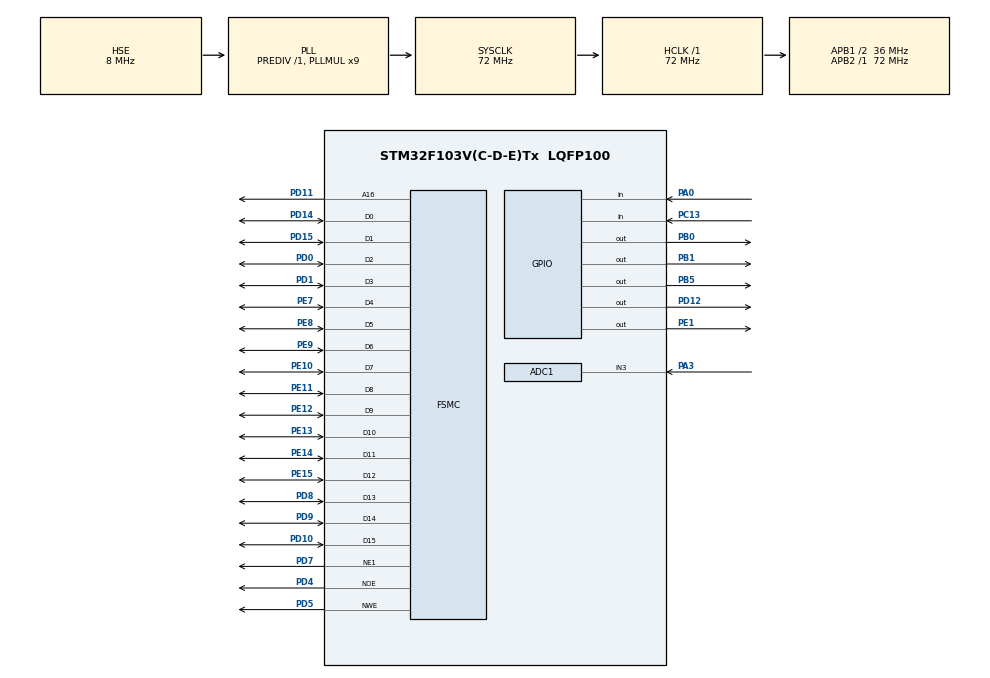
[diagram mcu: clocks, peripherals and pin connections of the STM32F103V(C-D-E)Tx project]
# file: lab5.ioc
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ADC1.Channel-0\#ChannelRegularConversion=ADC_CHANNEL_3
ADC1.ContinuousConvMode=DISABLE
ADC1.NbrOfConversionFlag=1
ADC1.Rank-0\#ChannelRegularConversion=1
ADC1.SamplingTime-0\#ChannelRegularConversion=ADC_SAMPLETIME_55CYCLES_5
ADC1.master=1
ADC2.Channel-0\#ChannelRegularConversion=ADC_CHANNEL_3
ADC2.ContinuousConvMode=ENABLE
ADC2.NbrOfConversionFlag=1
ADC2.Rank-0\#ChannelRegularConversion=1
ADC2.SamplingTime-0\#ChannelRegularConversion=ADC_SAMPLETIME_55CYCLES_5
Mcu.Family=STM32F1
Mcu.Name=STM32F103V(C-D-E)Tx
Mcu.Package=LQFP100
NVIC.PriorityGroup=NVIC_PRIORITYGROUP_4
OSC_IN.Mode=HSE-External-Oscillator
OSC_IN.Signal=RCC_OSC_IN
OSC_OUT.Mode=HSE-External-Oscillator
OSC_OUT.Signal=RCC_OSC_OUT
PA0-WKUP.Signal=GPIO_Input
PA13.Mode=Serial_Wire
PA13.Signal=SYS_JTMS-SWDIO
PA14.Mode=Serial_Wire
PA14.Signal=SYS_JTCK-SWCLK
PA3.Signal=ADCx_IN3
PB0.GPIO_Speed=GPIO_SPEED_FREQ_HIGH
PB0.PinState=GPIO_PIN_SET
PB0.Signal=GPIO_Output
PB1.GPIO_Speed=GPIO_SPEED_FREQ_HIGH
PB1.PinState=GPIO_PIN_SET
PB1.Signal=GPIO_Output
PB5.GPIO_Speed=GPIO_SPEED_FREQ_HIGH
PB5.PinState=GPIO_PIN_SET
PB5.Signal=GPIO_Output
PC13-TAMPER-RTC.Signal=GPIO_Input
PC14-OSC32_IN.Mode=LSE-External-Oscillator
PC14-OSC32_IN.Signal=RCC_OSC32_IN
PC15-OSC32_OUT.Mode=LSE-External-Oscillator
PC15-OSC32_OUT.Signal=RCC_OSC32_OUT
PD0.Mode=16b-d1
PD0.Signal=FSMC_D2
PD1.Mode=16b-d1
PD1.Signal=FSMC_D3
PD10.Mode=16b-d1
PD10.Signal=FSMC_D15
PD11.Mode=A16_1
PD11.Signal=FSMC_A16
PD12.GPIO_Speed=GPIO_SPEED_FREQ_HIGH
PD12.PinState=GPIO_PIN_RESET
PD12.Signal=GPIO_Output
PD14.Mode=16b-d1
PD14.Signal=FSMC_D0
PD15.Mode=16b-d1
PD15.Signal=FSMC_D1
PD4.Mode=Lcd1
PD4.Signal=FSMC_NOE
PD5.Mode=Lcd1
PD5.Signal=FSMC_NWE
PD7.Mode=NorPsramChipSelect1_1
PD7.Signal=FSMC_NE1
PD8.Mode=16b-d1
PD8.Signal=FSMC_D13
PD9.Mode=16b-d1
PD9.Signal=FSMC_D14
PE1.GPIO_Speed=GPIO_SPEED_FREQ_HIGH
PE1.PinState=GPIO_PIN_RESET
PE1.Signal=GPIO_Output
PE10.Mode=16b-d1
PE10.Signal=FSMC_D7
PE11.Mode=16b-d1
PE11.Signal=FSMC_D8
PE12.Mode=16b-d1
PE12.Signal=FSMC_D9
PE13.Mode=16b-d1
PE13.Signal=FSMC_D10
PE14.Mode=16b-d1
PE14.Signal=FSMC_D11
PE15.Mode=16b-d1
PE15.Signal=FSMC_D12
PE7.Mode=16b-d1
PE7.Signal=FSMC_D4
PE8.Mode=16b-d1
PE8.Signal=FSMC_D5
PE9.Mode=16b-d1
PE9.Signal=FSMC_D6
ProjectManager.HeapSize=0x200
ProjectManager.StackSize=0x400
ProjectManager.TargetToolchain=STM32CubeIDE
RCC.ADCPresc=RCC_ADCPCLK2_DIV6
RCC.AHBFreq_Value=72000000
RCC.APB1CLKDivider=RCC_HCLK_DIV2
RCC.APB1Freq_Value=36000000
RCC.APB1TimFreq_Value=72000000
RCC.APB2Freq_Value=72000000
RCC.APB2TimFreq_Value=72000000
RCC.HCLKFreq_Value=72000000
RCC.PLLMUL=RCC_PLL_MUL9
RCC.PLLSourceVirtual=RCC_PLLSOURCE_HSE
RCC.SYSCLKFreq_VALUE=72000000
RCC.SYSCLKSource=RCC_SYSCLKSOURCE_PLLCLK
RCC.USBFreq_Value=72000000
SH.ADCx_IN3.0=ADC1_IN3,IN3
SH.ADCx_IN3.1=ADC2_IN3,IN3
board=custom

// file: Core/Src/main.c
/* USER CODE BEGIN Header */
/**
 ******************************************************************************
 * @file           : main.c
 * @brief          : Main program body
 ******************************************************************************
 * @attention
 *
 * Copyright (c) 2024 STMicroelectronics.
 * All rights reserved.
 *
 * This software is licensed under terms that can be found in the LICENSE file
 * in the root directory of this software component.
 * If no LICENSE file comes with this software, it is provided AS-IS.
 *
 ******************************************************************************
 */
/* USER CODE END Header */
#include "main.h"

/* USER CODE BEGIN Includes */
#include "lcd.h"
#include <stdio.h>
/* USER CODE END Includes */

 ADC_HandleTypeDef hadc1;
ADC_HandleTypeDef hadc2;

SRAM_HandleTypeDef hsram1;

void SystemClock_Config(void);
static void MX_GPIO_Init(void);
static void MX_FSMC_Init(void);
static void MX_ADC1_Init(void);
static void MX_ADC2_Init(void);

int main(void)
{

  /* MCU Configuration--------------------------------------------------------*/

  /* Reset of all peripherals, Initializes the Flash interface and the Systick. */
  HAL_Init();

  /* Configure the system clock */
  SystemClock_Config();

  /* Initialize all configured peripherals */
  MX_GPIO_Init();
  MX_FSMC_Init();
  MX_ADC1_Init();
  MX_ADC2_Init();
  /* USER CODE BEGIN 2 */
	LCD_INIT();

  /* USER CODE END 2 */

  /* Infinite loop */
  /* USER CODE BEGIN WHILE */
	HAL_ADCEx_Calibration_Start(&hadc1);
	HAL_ADCEx_Calibration_Start(&hadc2);

	uint32_t value1 = 0;
	uint32_t value2 = 0;

	uint32_t low_intensity = 250;
	uint32_t large_intensity = 3050;
	uint8_t num_interval = 5;
	uint32_t interval = (large_intensity - low_intensity)/num_interval;
	GPIO_PinState current_state = GPIO_PIN_RESET;

	HAL_ADC_Start(&hadc2);
	while (1) {
    /* USER CODE END WHILE */

    /* USER CODE BEGIN 3 */

		if ((current_state == GPIO_PIN_RESET)
				&& (HAL_GPIO_ReadPin(GPIOC, GPIO_PIN_13) == GPIO_PIN_SET)) {
			current_state = GPIO_PIN_SET;
		}
		if ((current_state == GPIO_PIN_SET)
				&& (HAL_GPIO_ReadPin(GPIOC, GPIO_PIN_13) == GPIO_PIN_RESET)) {
			//LCD_Clear(100, 15, 150, 30, WHITE);
			current_state = GPIO_PIN_RESET;
			HAL_ADC_Start(&hadc1);
			HAL_ADC_PollForConversion(&hadc1, 1000);
			value1 = HAL_ADC_GetValue(&hadc1);
			LCD_DrawValue(100, 15, (value1)); //dec
			LCD_DrawValueHex(150, 15, (value1)); //hex
		}

		value2 = HAL_ADC_GetValue(&hadc2);
		LCD_DrawValue(100, 40, (value2));
		LCD_DrawValueHex(150, 40, (value2));

		LCD_DrawString(100, 0, "DEC");
		LCD_DrawString(150, 0, "HEX");
		LCD_DrawString(0, 15, "ADC1 Value: ");
		LCD_DrawString(0, 40, "ADC2 Value: ");

		if(value2<250+interval*1){
							HAL_GPIO_WritePin(GPIOB, GPIO_PIN_5, GPIO_PIN_SET); // R
							HAL_GPIO_WritePin(GPIOB, GPIO_PIN_0, GPIO_PIN_SET); // G
							HAL_GPIO_WritePin(GPIOB, GPIO_PIN_1, GPIO_PIN_SET); // B
				}
				else if(value2<250+interval*2){
							HAL_GPIO_WritePin(GPIOB, GPIO_PIN_5, GPIO_PIN_SET); // R
							HAL_GPIO_WritePin(GPIOB, GPIO_PIN_0, GPIO_PIN_SET); // G
							HAL_GPIO_WritePin(GPIOB, GPIO_PIN_1, GPIO_PIN_RESET); // B
				}
				else if(value2<250+interval*3){
							HAL_GPIO_WritePin(GPIOB, GPIO_PIN_5, GPIO_PIN_SET); // R
							HAL_GPIO_WritePin(GPIOB, GPIO_PIN_0, GPIO_PIN_RESET); // G
							HAL_GPIO_WritePin(GPIOB, GPIO_PIN_1, GPIO_PIN_SET); // B
				}
				else if(value2<250+interval*4){
							HAL_GPIO_WritePin(GPIOB, GPIO_PIN_5, GPIO_PIN_RESET); // R
							HAL_GPIO_WritePin(GPIOB, GPIO_PIN_0, GPIO_PIN_SET); // G
							HAL_GPIO_WritePin(GPIOB, GPIO_PIN_1, GPIO_PIN_SET); // B
				}
				else{
							HAL_GPIO_WritePin(GPIOB, GPIO_PIN_5, GPIO_PIN_RESET); // R
							HAL_GPIO_WritePin(GPIOB, GPIO_PIN_0, GPIO_PIN_RESET); // G
							HAL_GPIO_WritePin(GPIOB, GPIO_PIN_1, GPIO_PIN_RESET); // B
				}

	}
  /* USER CODE END 3 */
}

void SystemClock_Config(void)
{
  RCC_OscInitTypeDef RCC_OscInitStruct = {0};
  RCC_ClkInitTypeDef RCC_ClkInitStruct = {0};
  RCC_PeriphCLKInitTypeDef PeriphClkInit = {0};

  /** Initializes the RCC Oscillators according to the specified parameters
  * in the RCC_OscInitTypeDef structure.
  */
  RCC_OscInitStruct.OscillatorType = RCC_OSCILLATORTYPE_HSE;
  RCC_OscInitStruct.HSEState = RCC_HSE_ON;
  RCC_OscInitStruct.HSEPredivValue = RCC_HSE_PREDIV_DIV1;
  RCC_OscInitStruct.HSIState = RCC_HSI_ON;
  RCC_OscInitStruct.PLL.PLLState = RCC_PLL_ON;
  RCC_OscInitStruct.PLL.PLLSource = RCC_PLLSOURCE_HSE;
  RCC_OscInitStruct.PLL.PLLMUL = RCC_PLL_MUL9;
  if (HAL_RCC_OscConfig(&RCC_OscInitStruct) != HAL_OK)
  {
    Error_Handler();
  }

  /** Initializes the CPU, AHB and APB buses clocks
  */
  RCC_ClkInitStruct.ClockType = RCC_CLOCKTYPE_HCLK|RCC_CLOCKTYPE_SYSCLK
                              |RCC_CLOCKTYPE_PCLK1|RCC_CLOCKTYPE_PCLK2;
  RCC_ClkInitStruct.SYSCLKSource = RCC_SYSCLKSOURCE_PLLCLK;
  RCC_ClkInitStruct.AHBCLKDivider = RCC_SYSCLK_DIV1;
  RCC_ClkInitStruct.APB1CLKDivider = RCC_HCLK_DIV2;
  RCC_ClkInitStruct.APB2CLKDivider = RCC_HCLK_DIV1;

  if (HAL_RCC_ClockConfig(&RCC_ClkInitStruct, FLASH_LATENCY_2) != HAL_OK)
  {
    Error_Handler();
  }
  PeriphClkInit.PeriphClockSelection = RCC_PERIPHCLK_ADC;
  PeriphClkInit.AdcClockSelection = RCC_ADCPCLK2_DIV6;
  if (HAL_RCCEx_PeriphCLKConfig(&PeriphClkInit) != HAL_OK)
  {
    Error_Handler();
  }
}

static void MX_ADC1_Init(void)
{

  ADC_ChannelConfTypeDef sConfig = {0};

  /** Common config
  */
  hadc1.Instance = ADC1;
  hadc1.Init.ScanConvMode = ADC_SCAN_DISABLE;
  hadc1.Init.ContinuousConvMode = DISABLE;
  hadc1.Init.DiscontinuousConvMode = DISABLE;
  hadc1.Init.ExternalTrigConv = ADC_SOFTWARE_START;
  hadc1.Init.DataAlign = ADC_DATAALIGN_RIGHT;
  hadc1.Init.NbrOfConversion = 1;
  if (HAL_ADC_Init(&hadc1) != HAL_OK)
  {
    Error_Handler();
  }

  /** Configure Regular Channel
  */
  sConfig.Channel = ADC_CHANNEL_3;
  sConfig.Rank = ADC_REGULAR_RANK_1;
  sConfig.SamplingTime = ADC_SAMPLETIME_55CYCLES_5;
  if (HAL_ADC_ConfigChannel(&hadc1, &sConfig) != HAL_OK)
  {
    Error_Handler();
  }

}

static void MX_ADC2_Init(void)
{

  ADC_ChannelConfTypeDef sConfig = {0};

  /** Common config
  */
  hadc2.Instance = ADC2;
  hadc2.Init.ScanConvMode = ADC_SCAN_DISABLE;
  hadc2.Init.ContinuousConvMode = ENABLE;
  hadc2.Init.DiscontinuousConvMode = DISABLE;
  hadc2.Init.ExternalTrigConv = ADC_SOFTWARE_START;
  hadc2.Init.DataAlign = ADC_DATAALIGN_RIGHT;
  hadc2.Init.NbrOfConversion = 1;
  if (HAL_ADC_Init(&hadc2) != HAL_OK)
  {
    Error_Handler();
  }

  /** Configure Regular Channel
  */
  sConfig.Channel = ADC_CHANNEL_3;
  sConfig.Rank = ADC_REGULAR_RANK_1;
  sConfig.SamplingTime = ADC_SAMPLETIME_55CYCLES_5;
  if (HAL_ADC_ConfigChannel(&hadc2, &sConfig) != HAL_OK)
  {
    Error_Handler();
  }

}

static void MX_GPIO_Init(void)
{
  GPIO_InitTypeDef GPIO_InitStruct = {0};

  /* GPIO Ports Clock Enable */
  __HAL_RCC_GPIOC_CLK_ENABLE();
  __HAL_RCC_GPIOA_CLK_ENABLE();
  __HAL_RCC_GPIOB_CLK_ENABLE();
  __HAL_RCC_GPIOE_CLK_ENABLE();
  __HAL_RCC_GPIOD_CLK_ENABLE();

  /*Configure GPIO pin Output Level */
  HAL_GPIO_WritePin(GPIOB, GPIO_PIN_0|GPIO_PIN_1|GPIO_PIN_5, GPIO_PIN_SET);

  /*Configure GPIO pin Output Level */
  HAL_GPIO_WritePin(GPIOD, GPIO_PIN_12, GPIO_PIN_RESET);

  /*Configure GPIO pin Output Level */
  HAL_GPIO_WritePin(GPIOE, GPIO_PIN_1, GPIO_PIN_RESET);

  /*Configure GPIO pin : PC13 */
  GPIO_InitStruct.Pin = GPIO_PIN_13;
  GPIO_InitStruct.Mode = GPIO_MODE_INPUT;
  GPIO_InitStruct.Pull = GPIO_NOPULL;
  HAL_GPIO_Init(GPIOC, &GPIO_InitStruct);

  /*Configure GPIO pin : PA0 */
  GPIO_InitStruct.Pin = GPIO_PIN_0;
  GPIO_InitStruct.Mode = GPIO_MODE_INPUT;
  GPIO_InitStruct.Pull = GPIO_NOPULL;
  HAL_GPIO_Init(GPIOA, &GPIO_InitStruct);

  /*Configure GPIO pins : PB0 PB1 PB5 */
  GPIO_InitStruct.Pin = GPIO_PIN_0|GPIO_PIN_1|GPIO_PIN_5;
  GPIO_InitStruct.Mode = GPIO_MODE_OUTPUT_PP;
  GPIO_InitStruct.Pull = GPIO_NOPULL;
  GPIO_InitStruct.Speed = GPIO_SPEED_FREQ_HIGH;
  HAL_GPIO_Init(GPIOB, &GPIO_InitStruct);

  /*Configure GPIO pin : PD12 */
  GPIO_InitStruct.Pin = GPIO_PIN_12;
  GPIO_InitStruct.Mode = GPIO_MODE_OUTPUT_PP;
  GPIO_InitStruct.Pull = GPIO_NOPULL;
  GPIO_InitStruct.Speed = GPIO_SPEED_FREQ_HIGH;
  HAL_GPIO_Init(GPIOD, &GPIO_InitStruct);

  /*Configure GPIO pin : PE1 */
  GPIO_InitStruct.Pin = GPIO_PIN_1;
  GPIO_InitStruct.Mode = GPIO_MODE_OUTPUT_PP;
  GPIO_InitStruct.Pull = GPIO_NOPULL;
  GPIO_InitStruct.Speed = GPIO_SPEED_FREQ_HIGH;
  HAL_GPIO_Init(GPIOE, &GPIO_InitStruct);

}

/* FSMC initialization function */
static void MX_FSMC_Init(void)
{

  FSMC_NORSRAM_TimingTypeDef Timing = {0};

  /** Perform the SRAM1 memory initialization sequence
  */
  hsram1.Instance = FSMC_NORSRAM_DEVICE;
  hsram1.Extended = FSMC_NORSRAM_EXTENDED_DEVICE;
  /* hsram1.Init */
  hsram1.Init.NSBank = FSMC_NORSRAM_BANK1;
  hsram1.Init.DataAddressMux = FSMC_DATA_ADDRESS_MUX_DISABLE;
  hsram1.Init.MemoryType = FSMC_MEMORY_TYPE_SRAM;
  hsram1.Init.MemoryDataWidth = FSMC_NORSRAM_MEM_BUS_WIDTH_16;
  hsram1.Init.BurstAccessMode = FSMC_BURST_ACCESS_MODE_DISABLE;
  hsram1.Init.WaitSignalPolarity = FSMC_WAIT_SIGNAL_POLARITY_LOW;
  hsram1.Init.WrapMode = FSMC_WRAP_MODE_DISABLE;
  hsram1.Init.WaitSignalActive = FSMC_WAIT_TIMING_BEFORE_WS;
  hsram1.Init.WriteOperation = FSMC_WRITE_OPERATION_ENABLE;
  hsram1.Init.WaitSignal = FSMC_WAIT_SIGNAL_DISABLE;
  hsram1.Init.ExtendedMode = FSMC_EXTENDED_MODE_DISABLE;
  hsram1.Init.AsynchronousWait = FSMC_ASYNCHRONOUS_WAIT_DISABLE;
  hsram1.Init.WriteBurst = FSMC_WRITE_BURST_DISABLE;
  /* Timing */
  Timing.AddressSetupTime = 15;
  Timing.AddressHoldTime = 15;
  Timing.DataSetupTime = 255;
  Timing.BusTurnAroundDuration = 15;
  Timing.CLKDivision = 16;
  Timing.DataLatency = 17;
  Timing.AccessMode = FSMC_ACCESS_MODE_A;
  /* ExtTiming */

  if (HAL_SRAM_Init(&hsram1, &Timing, NULL) != HAL_OK)
  {
    Error_Handler( );
  }

  /** Disconnect NADV
  */

  __HAL_AFIO_FSMCNADV_DISCONNECTED();

}

void Error_Handler(void)
{
	__disable_irq();
	while (1) {
	}
}
